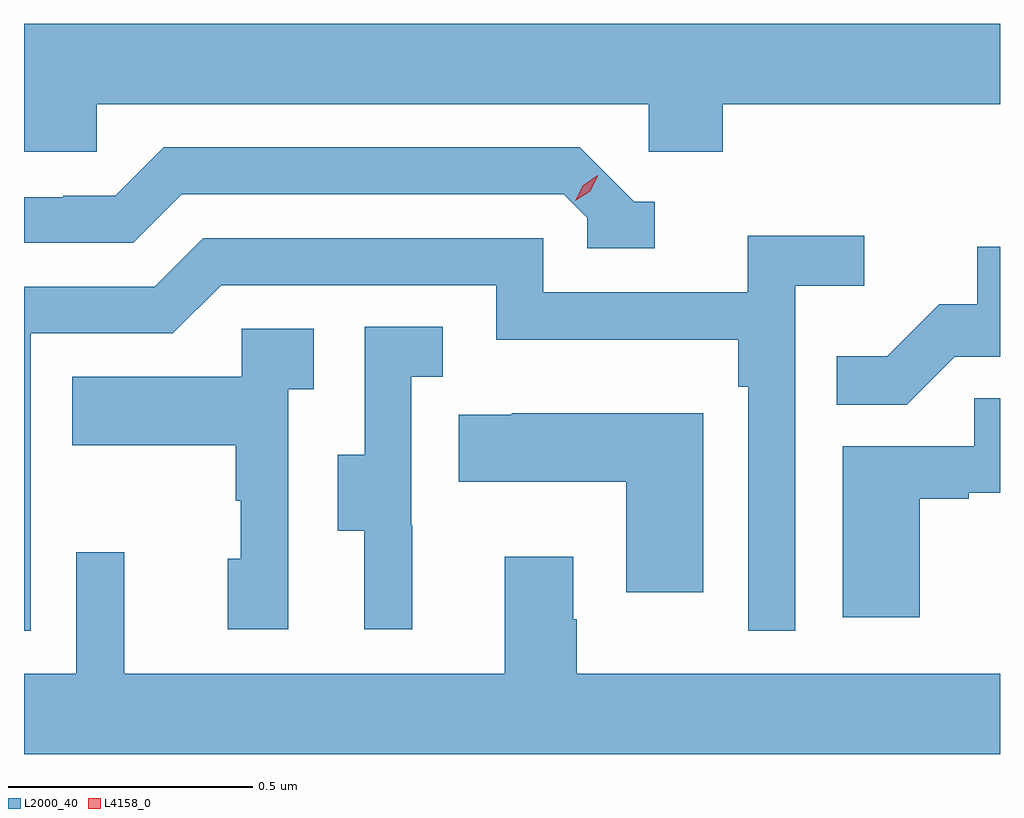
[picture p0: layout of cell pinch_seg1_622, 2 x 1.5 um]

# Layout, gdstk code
import gdstk
lib = gdstk.Library(unit=1e-6, precision=1e-09)
def P(c, l, *ps):  # polygons
    for p in ps: c.add(gdstk.Polygon(p, *l))
L2000_40 = (2000, 40)
L4158_0 = (4158, 0)

pinch_seg1_622 = lib.new_cell('pinch_seg1_622')
P(pinch_seg1_622, L2000_40, [(1101.321,506.444),(1102.452,506.444),(1102.452,506.346),(1102.604,506.346),(1102.604,506.444),(1103.172,506.444),(1103.172,506.608),(1101.172,506.608),(1101.172,506.346),(1101.321,506.346)],
  [(1102.465,506.244),(1102.422,506.244),(1102.311,506.355),(1101.458,506.355),(1101.359,506.256),(1101.252,506.256),(1101.252,506.253),(1101.172,506.253),(1101.172,506.16),(1101.396,506.16),(1101.495,506.259),(1102.278,506.259),(1102.326,506.211),(1102.326,506.148),(1102.465,506.148)],
  [(1101.186,505.974),(1101.477,505.974),(1101.576,506.073),(1102.14,506.073),(1102.14,505.961),(1102.636,505.961),(1102.636,505.865),(1102.656,505.865),(1102.656,505.365),(1102.752,505.365),(1102.752,506.072),(1102.894,506.072),(1102.894,506.174),(1102.655,506.174),(1102.655,506.058),(1102.236,506.058),(1102.236,506.169),(1101.539,506.169),(1101.44,506.07),(1101.172,506.07),(1101.172,505.365),(1101.186,505.365)],
  [(1103.079,505.926),(1103.172,505.926),(1103.172,506.151),(1103.125,506.151),(1103.125,506.034),(1103.048,506.034),(1102.941,505.927),(1102.837,505.927),(1102.837,505.828),(1102.981,505.828)],
  [(1101.968,505.581),(1101.966,505.581),(1101.966,505.885),(1102.03,505.885),(1102.03,505.988),(1101.87,505.988),(1101.87,505.725),(1101.815,505.725),(1101.815,505.57),(1101.869,505.57),(1101.869,505.368),(1101.968,505.368)],
  [(1101.714,505.859),(1101.766,505.859),(1101.766,505.983),(1101.618,505.983),(1101.618,505.885),(1101.271,505.885),(1101.271,505.745),(1101.606,505.745),(1101.606,505.631),(1101.616,505.631),(1101.616,505.512),(1101.59,505.512),(1101.59,505.368),(1101.714,505.368)],
  [(1103.008,505.635),(1103.108,505.635),(1103.108,505.647),(1103.172,505.647),(1103.172,505.841),(1103.119,505.841),(1103.119,505.743),(1102.85,505.743),(1102.85,505.392),(1103.008,505.392)],
  [(1102.564,505.81),(1102.171,505.81),(1102.171,505.807),(1102.063,505.807),(1102.063,505.67),(1102.406,505.67),(1102.406,505.443),(1102.564,505.443)],
  [(1103.172,505.276),(1102.305,505.276),(1102.305,505.388),(1102.297,505.388),(1102.297,505.516),(1102.157,505.516),(1102.157,505.276),(1101.377,505.276),(1101.377,505.525),(1101.279,505.525),(1101.279,505.276),(1101.172,505.276),(1101.172,505.112),(1103.172,505.112)])
P(pinch_seg1_622, L4158_0, [(1102.302,506.246),(1102.302,506.246),(1102.318,506.278),(1102.348,506.298),(1102.348,506.298),(1102.348,506.297),(1102.332,506.265),(1102.302,506.246)])

lib.write_gds('pinch_seg1_622.gds')
